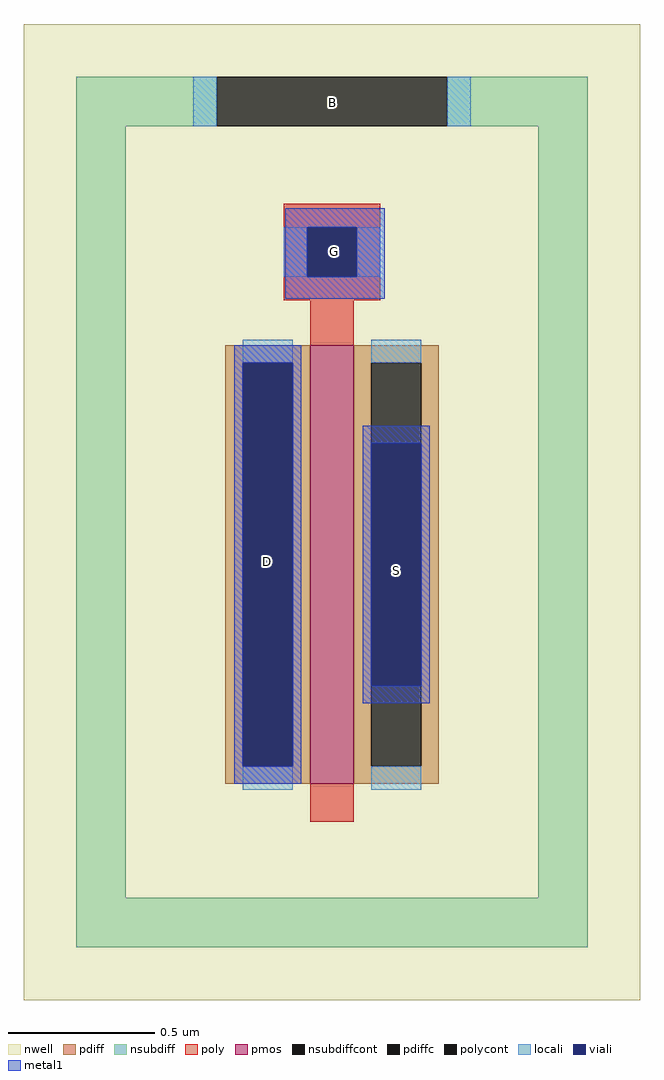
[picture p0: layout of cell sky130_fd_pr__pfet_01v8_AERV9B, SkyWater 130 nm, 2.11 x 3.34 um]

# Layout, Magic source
magic
tech sky130B
magscale 1 2
<< nwell >>
rect -211 -334 211 334
<< pmos >>
rect -15 -186 15 114
<< pdiff >>
rect -73 102 -15 114
rect -73 -174 -61 102
rect -27 -174 -15 102
rect -73 -186 -15 -174
rect 15 102 73 114
rect 15 -174 27 102
rect 61 -174 73 102
rect 15 -186 73 -174
<< pdiffc >>
rect -61 -174 -27 102
rect 27 -174 61 102
<< nsubdiff >>
rect -175 264 -79 298
rect 79 264 175 298
rect -175 -264 -141 264
rect 141 -264 175 264
rect -175 -298 175 -264
<< nsubdiffcont >>
rect -79 264 79 298
<< poly >>
rect -33 195 33 211
rect -33 161 -17 195
rect 17 161 33 195
rect -33 145 33 161
rect -15 114 15 145
rect -15 -212 15 -186
<< polycont >>
rect -17 161 17 195
<< locali >>
rect -95 264 -79 298
rect 79 264 95 298
rect -33 161 -17 195
rect 17 161 33 195
rect -61 102 -27 118
rect -61 -190 -27 -174
rect 27 102 61 118
rect 27 -190 61 -174
<< viali >>
rect -17 161 17 195
rect -61 -174 -27 102
rect 27 -119 61 47
<< metal1 >>
rect -32 195 36 208
rect -32 161 -17 195
rect 17 161 36 195
rect -32 146 36 161
rect -67 102 -21 114
rect -67 -174 -61 102
rect -27 -174 -21 102
rect 21 47 67 59
rect 21 -119 27 47
rect 61 -119 67 47
rect 21 -131 67 -119
rect -67 -186 -21 -174
<< labels >>
flabel metal1 s 2 178 2 178 0 FreeSans 320 0 0 0 G
port 0 nsew
flabel metal1 s -44 -34 -44 -34 0 FreeSans 320 0 0 0 D
port 1 nsew
flabel metal1 s 44 -40 44 -40 0 FreeSans 320 0 0 0 S
port 2 nsew
flabel locali s 0 280 0 280 0 FreeSans 320 0 0 0 B
port 4 nsew
<< properties >>
string FIXED_BBOX -158 -281 158 281
string gencell sky130_fd_pr__pfet_01v8
string library sky130
string parameters w 1.5 l 0.15 m 1 nf 1 diffcov 100 polycov 100 guard 1 glc 0 grc 0 gtc 1 gbc 0 tbcov 100 rlcov 100 topc 1 botc 0 poverlap 0 doverlap 1 lmin 0.15 wmin 0.42 compatible {sky130_fd_pr__pfet_01v8  sky130_fd_pr__pfet_01v8_lvt sky130_fd_pr__pfet_01v8_hvt  sky130_fd_pr__pfet_g5v0d10v5} full_metal 0 viasrc 60 viadrn 100 viagate 100 viagb 0 viagr 0 viagl 0 viagt 0
<< end >>
